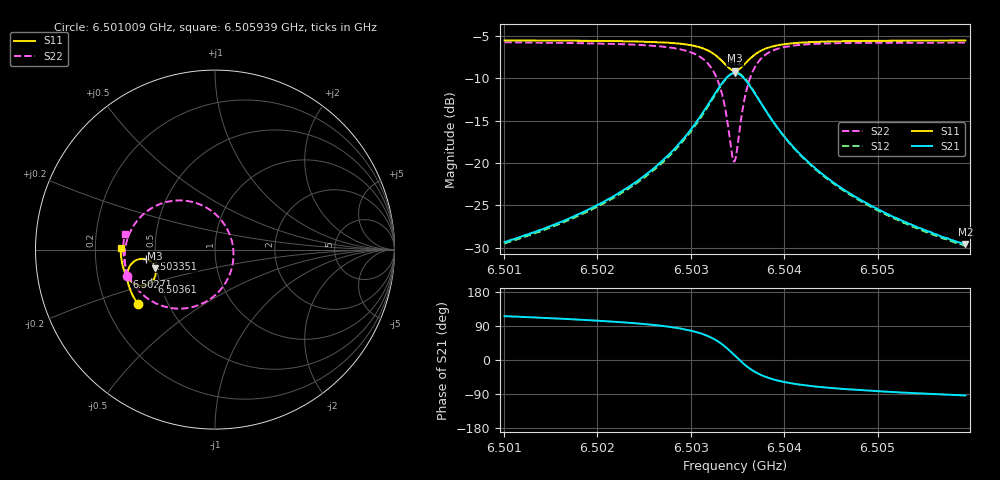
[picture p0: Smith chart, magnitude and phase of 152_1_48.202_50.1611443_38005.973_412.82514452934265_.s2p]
#  HZ  S  RI  R  50.00
! Rohde & Schwarz Vector Network Analyzer
! Rohde-Schwarz,ZNB20-2Port,1311601062101988,3.16
! Created: UTC 3/20/2024, 11:42:51 AM
! freq[Hz]  re:S11  im:S11  re:S21  im:S21  re:S12  im:S12  re:S22  im:S22
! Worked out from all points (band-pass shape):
!   401 points, 6.501009 GHz to 6.505939 GHz, reference 50 ohm
!   highest |S21| = -9.41 dB at 6.503474 GHz (marker M1); lowest = -29.6 dB at 6.505939 GHz (marker M2)
!   |S21| within 3 dB of the highest: 6.503227 GHz to 6.503721 GHz (493.6 kHz wide, 0.00759 % of centre)
!   lowest |S11| = -9.1 dB at 6.503474 GHz (marker M3), VSWR 2.07, Z = 24.6 - j5.84 ohm
!   |S11| at or under -10 dB: nowhere
!   |S22| runs from -19.8 to -5.8 dB; largest |S21 - S12| = 0.012
!   S11 on the Smith chart (normalised r, x): 6.501009 GHz: 0.34, -0.29; 6.50271 GHz: 0.33, -0.14; 6.503351 GHz: 0.44, -0.06; 6.50361 GHz: 0.45, -0.19; 6.505939 GHz: 0.31, +0.01
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6.5010089e9  -0.4288 -0.3054  -0.0149 0.0309  -0.0132 0.0309  -0.4918 -0.1482
6.5018348e9  -0.464 -0.2437  -0.0142 0.049  -0.0117 0.0484  -0.504 -0.0592
6.5023032e9  -0.4801 -0.2016  -0.0109 0.0694  -0.00777 0.0683  -0.4998 0.00892
6.5026606e9  -0.4883 -0.1613  -0.00152 0.0988  0.00206 0.0963  -0.4795 0.0826
6.5027099e9  -0.4886 -0.1548  0.00091 0.1046  0.00465 0.1019  -0.4742 0.0953
6.5029441e9  -0.4852 -0.1179  0.0236 0.1414  0.0274 0.137  -0.4263 0.1696
6.5031044e9  -0.4708 -0.0857  0.0629 0.1774  0.0658 0.1715  -0.3496 0.2332
6.5032523e9  -0.4329 -0.0562  0.1447 0.2061  0.1455 0.1997  -0.2005 0.274
6.5033509e9  -0.3866 -0.0533  0.2361 0.1896  0.2363 0.1845  -0.0421 0.2307
6.5034372e9  -0.3439 -0.0824  0.3143 0.1146  0.3166 0.1102  0.0822 0.0834
6.5034618e9  -0.336 -0.0966  0.3275 0.0829  0.3306 0.0776  0.0991 0.0232
6.5034742e9  -0.3331 -0.1045  0.3318 0.066  0.3351 0.0602  0.1028 -0.00817
6.5034988e9  -0.3302 -0.1205  0.3351 0.0314  0.3388 0.0244  0.1001 -0.0714
6.5035358e9  -0.3324 -0.1445  0.3278 -0.0188  0.3309 -0.0278  0.0725 -0.1601
6.5036097e9  -0.3547 -0.1813  0.281 -0.0949  0.2807 -0.1063  -0.0379 -0.2826
6.5037084e9  -0.3954 -0.2006  0.2029 -0.1378  0.1979 -0.1481  -0.1967 -0.3291
6.5038686e9  -0.4445 -0.193  0.1153 -0.1375  0.1078 -0.1429  -0.3564 -0.2849
6.5040412e9  -0.4734 -0.1719  0.0674 -0.1167  0.061 -0.1191  -0.4341 -0.2176
6.5043e9  -0.4959 -0.1406  0.0345 -0.0901  0.0296 -0.0905  -0.4818 -0.1399
6.5046698e9  -0.5116 -0.1015  0.0151 -0.0662  0.0118 -0.0658  -0.5045 -0.0644
6.5051259e9  -0.5209 -0.0589  0.00519 -0.0492  0.00279 -0.0485  -0.5108 0.00156
6.5059394e9  -0.526 0.0103  -0.00208 -0.0331  -0.00342 -0.0322  -0.5031 0.0889
